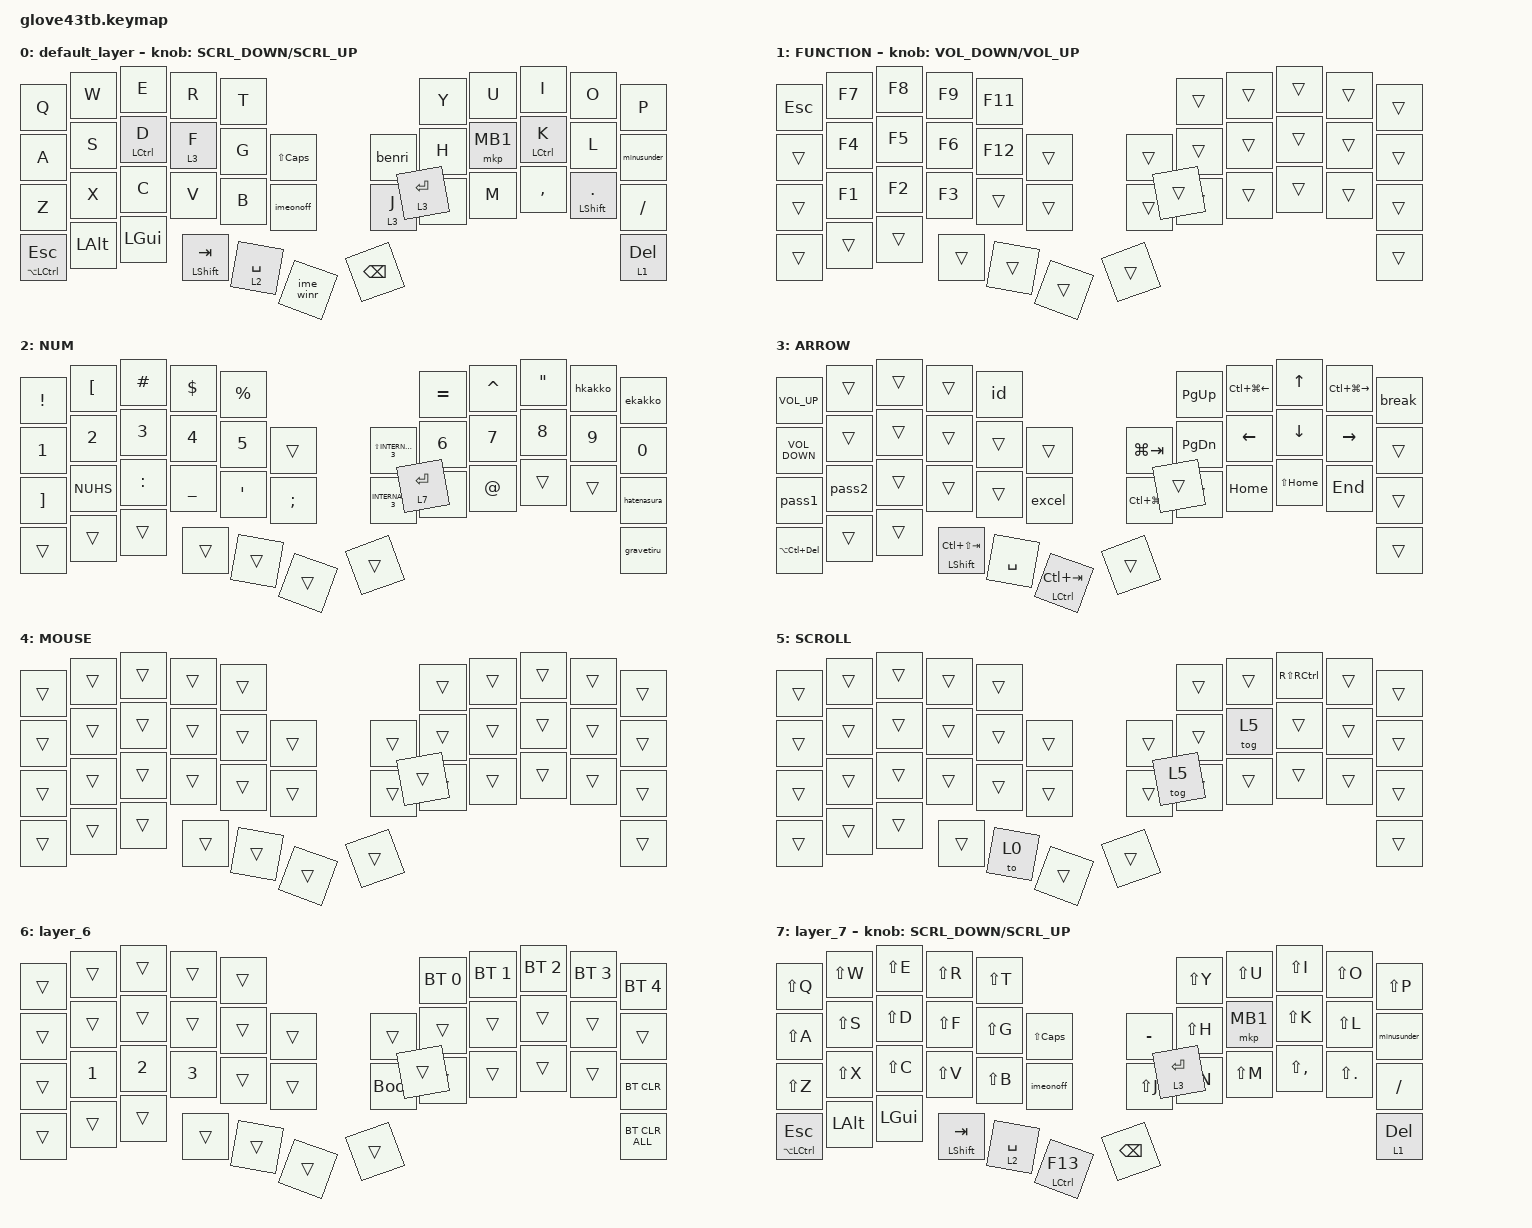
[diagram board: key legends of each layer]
#define ZMK_POINTING_DEFAULT_SCRL_VAL 150

#include <behaviors.dtsi>
#include <behaviors/rgbled_widget.dtsi>
#include <dt-bindings/zmk/bt.h>
#include <dt-bindings/zmk/keys.h>
#include <dt-bindings/zmk/pointing.h>
#include <dt-bindings/zmk/input_transform.h>
#include <input/processors.dtsi>
#include <zephyr/dt-bindings/input/input-event-codes.h>

&mt {
    flavor = "balanced";
    quick-tap-ms = <0>;
};

&mmv {
    delay-ms = <20>;
    trigger-period-ms = <5>;
    time-to-max-speed-ms = <100>;
    acceleration-exponent = <2>;
};

&msc {
    delay-ms = <3>;
    trigger-period-ms = <3>;
    time-to-max-speed-ms = <100>;
    acceleration-exponent = <0>;
};

/ {
    input_processors {
        zip_wheel_scaler: zip_wheel_scaler {
            compatible = "zmk,input-processor-scaler";
            #input-processor-cells = <2>;
            type = <INPUT_EV_REL>;
            codes = <INPUT_REL_WHEEL>;
            track-remainders;
        };
    };
};

/ {
    combos {
        compatible = "zmk,combos";

        rightclick {
            bindings = <&mkp MB2>;
            key-positions = <18 19>;
            layers = <0 4>;
        };

        f10 {
            bindings = <&kp F10>;
            key-positions = <12 13>;
            timeout-ms = <70>;
        };

        f7 {
            bindings = <&kp F7>;
            key-positions = <11 12 13>;
            timeout-ms = <80>;
        };

        winl {
            bindings = <&kp LG(LEFT_ARROW)>;
            key-positions = <18 41>;
        };

        winr {
            bindings = <&kp LG(RIGHT)>;
            key-positions = <41 20>;
        };

        winu {
            bindings = <&kp LG(UP_ARROW)>;
            key-positions = <41 7>;
        };

        wind {
            bindings = <&kp LG(DOWN_ARROW)>;
            key-positions = <41 19>;
        };

        scroll {
            bindings = <&tog 5>;
            key-positions = <18 7>;
            layers = <0 4>;
        };

        forward {
            bindings = <&kp LA(RIGHT)>;
            key-positions = <18 20>;
            layers = <0 4>;
            timeout-ms = <70>;
        };

        back {
            bindings = <&kp LA(LEFT)>;
            key-positions = <18 19 20>;
            layers = <0 4>;
            timeout-ms = <100>;
        };

        copy {
            bindings = <&kp LC(C)>;
            key-positions = <30 31>;
            timeout-ms = <70>;
            layers = <0>;
        };

        paste {
            bindings = <&kp LC(V)>;
            key-positions = <30 31 32>;
            timeout-ms = <100>;
            layers = <0>;
        };

        undo {
            bindings = <&kp LC(Z)>;
            key-positions = <30 32>;
            timeout-ms = <80>;
            layers = <0>;
        };
    };

    macros {
        to_layer_0: to_layer_0 {
            compatible = "zmk,behavior-macro-one-param";
            #binding-cells = <1>;
            bindings = <&to 0 &macro_param_1to1 &kp MACRO_PLACEHOLDER>;
            label = "TO_LAYER_0";
        };

        winr: winr {
            compatible = "zmk,behavior-macro";
            #binding-cells = <0>;
            bindings =
                <&kp LC(C)>,
                <&macro_wait_time 500>,
                <&kp LG(R)>,
                <&macro_wait_time 1000>,
                <&kp LC(V)>,
                <&macro_wait_time 600>,
                <&kp ENTER>;

            label = "WINR";
        };

        pass1: pass1 {
            compatible = "zmk,behavior-macro";
            #binding-cells = <0>;
            bindings =
                <&kt LEFT_SHIFT>,
                <&macro_wait_time 50>,
                <&kp X &kt LEFT_SHIFT &kp Z &kp G &kp Z &kp F &kp G &kp N8 &kt LEFT_SHIFT>,
                <&macro_wait_time 50>,
                <&kp NUMBER_1 &kt LEFT_SHIFT>;

            label = "PASS1";
        };

        pass2: pass2 {
            compatible = "zmk,behavior-macro";
            #binding-cells = <0>;
            bindings = <&kp X &kp Z &kp G &kp Z &kp F &kp G>;
            label = "PASS2";
        };

        id: id {
            compatible = "zmk,behavior-macro";
            #binding-cells = <0>;
            bindings = <&kp T &kp T &kp A &kp K &kp A &kp N &kp O>;
            label = "ID";
        };

        break: break {
            compatible = "zmk,behavior-macro";
            #binding-cells = <0>;
            bindings =
                <&kt LCTRL>,
                <&macro_wait_time 50>,
                <&kt LEFT_ALT>,
                <&macro_wait_time 50>,
                <&kp PAUSE_BREAK &kt LCTRL &kt LEFT_ALT>;

            label = "BREAK";
        };
    };

    behaviors {
        lt_to_layer_0: lt_to_layer_0 {
            compatible = "zmk,behavior-hold-tap";
            label = "LAYER_TAP_TO_0";
            bindings = <&mo>, <&to_layer_0>;

            #binding-cells = <2>;
            tapping-term-ms = <200>;
        };

        sensor_rotate_kp: sensor_rotate_kp {
            compatible = "zmk,behavior-sensor-rotate-var";
            #sensor-binding-cells = <2>;
            bindings = <&kp>, <&kp>;
        };

        mouse_wheel_scroll: mouse_wheel_scroll {
            compatible = "zmk,behavior-sensor-rotate-var";
            #sensor-binding-cells = <2>;
            bindings = <&msc>, <&msc>;

            tap-ms = <20>;
        };

        minusunder: minusunder {
            compatible = "zmk,behavior-tap-dance";
            label = "MINUSUNDER";
            #binding-cells = <0>;
            bindings = <&kp MINUS>, <&kp LS(INTERNATIONAL_1)>;

            tapping-term-ms = <230>;
        };

        hkakko: hkakko {
            compatible = "zmk,behavior-tap-dance";
            label = "HKAKKO";
            #binding-cells = <0>;
            bindings = <&kp ASTERISK>, <&kp RIGHT_BRACE>;

            tapping-term-ms = <250>;
        };

        ekakko: ekakko {
            compatible = "zmk,behavior-tap-dance";
            label = "EKAKKO";
            #binding-cells = <0>;
            bindings = <&kp LEFT_PARENTHESIS>, <&kp TILDE2>;

            tapping-term-ms = <250>;
        };

        benri: benri {
            compatible = "zmk,behavior-tap-dance";
            label = "BENRI";
            #binding-cells = <0>;
            bindings = <&kp LS(LC(N))>, <&winr>, <&kp LS(LG(S))>;

            tapping-term-ms = <350>;
        };

        hatenasura: hatenasura {
            compatible = "zmk,behavior-tap-dance";
            label = "HATENASURA";
            #binding-cells = <0>;
            bindings = <&kp QUESTION>, <&kp SLASH>;
        };

        excel: excel {
            compatible = "zmk,behavior-tap-dance";
            label = "EXCEL";
            #binding-cells = <0>;
            bindings = <&lt 6 LC(SEMICOLON)>, <&kp LC(SQT)>;
        };

        gravetiru: gravetiru {
            compatible = "zmk,behavior-tap-dance";
            label = "GRAVETIRU";
            #binding-cells = <0>;
            bindings = <&kp LEFT_BRACE>, <&kp PLUS>;

            tapping-term-ms = <250>;
        };

        imeonoff: imeonoff {
            compatible = "zmk,behavior-tap-dance";
            label = "IMEONOFF";
            #binding-cells = <0>;
            bindings = <&lt 6 LANG1>, <&kp LANG2>;
        };

        ime_winr: ime_winr {
            compatible = "zmk,behavior-tap-dance";
            label = "IME_WINR";
            #binding-cells = <0>;
            bindings = <&mt LCTRL F13>, <&kp LG(R)>;
        };
    };

    keymap {
        compatible = "zmk,keymap";

        default_layer {
            bindings = <
&kp Q                 &kp W         &kp E         &kp R               &kp T                                         &kp Y        &kp U     &kp I        &kp O                  &kp P
&kp A                 &kp S         &mt LCTRL D   &lt 3 F             &kp G        &kp LS(CAPS)      &benri         &kp H        &mkp MB1  &mt LCTRL K  &kp L                  &minusunder
&kp Z                 &kp X         &kp C         &kp V               &kp B        &imeonoff         &lt 3 J        &kp N        &kp M     &kp COMMA    &mt LEFT_SHIFT PERIOD  &kp SLASH
&mt LA(LCTRL) ESCAPE  &kp LEFT_ALT  &kp LEFT_GUI  &mt LEFT_SHIFT TAB  &lt 2 SPACE  &ime_winr         &kp BACKSPACE  &lt 3 ENTER                                                &lt 1 DELETE
            >;

            sensor-bindings = <&mouse_wheel_scroll SCRL_DOWN SCRL_UP>;
        };

        FUNCTION {
            bindings = <
&kp ESC  &kp F7  &kp F8  &kp F9  &kp F11                      &trans  &trans  &trans  &trans  &trans
&trans   &kp F4  &kp F5  &kp F6  &kp F12  &trans      &trans  &trans  &trans  &trans  &trans  &trans
&trans   &kp F1  &kp F2  &kp F3  &trans   &trans      &trans  &trans  &trans  &trans  &trans  &trans
&trans   &trans  &trans  &trans  &trans   &trans      &trans  &trans                          &trans
            >;

            sensor-bindings = <&sensor_rotate_kp C_VOLUME_DOWN C_VOLUME_UP>;
        };

        NUM {
            bindings = <
&kp EXCLAMATION    &kp LEFT_BRACKET  &kp HASH      &kp DOLLAR      &kp PERCENT                                              &kp EQUAL      &kp CARET     &kp DOUBLE_QUOTES  &hkakko       &ekakko
&kp NUMBER_1       &kp NUMBER_2      &kp NUMBER_3  &kp NUMBER_4    &kp N5       &trans             &kp LS(INTERNATIONAL_3)  &kp NUMBER_6   &kp NUMBER_7  &kp NUMBER_8       &kp NUMBER_9  &kp NUMBER_0
&kp RIGHT_BRACKET  &kp NUHS          &kp COLON     &kp UNDERSCORE  &kp SQT      &kp SEMICOLON      &kp INTERNATIONAL_3      &kp AMPERSAND  &kp AT_SIGN   &trans             &trans        &hatenasura
&trans             &trans            &trans        &trans          &trans       &trans             &trans                   &lt 7 ENTER                                                   &gravetiru
            >;
        };

        ARROW {
            bindings = <
&kp C_VOLUME_UP     &trans  &trans  &trans                      &id                                              &kp PG_UP      &kp LC(LG(LEFT_ARROW))  &kp UP_ARROW  &kp LC(LG(RIGHT))  &break
&kp C_VOLUME_DOWN   &trans  &trans  &trans                      &trans     &trans                 &kp LG(TAB)    &kp PAGE_DOWN  &kp LEFT                &kp DOWN      &kp RIGHT          &trans
&pass1              &pass2  &trans  &trans                      &trans     &excel                 &kp LC(LG(D))  &trans         &kp HOME                &kp LS(HOME)  &kp END            &trans
&kp LA(LC(DELETE))  &trans  &trans  &mt LEFT_SHIFT LC(LS(TAB))  &kp SPACE  &mt LCTRL LC(TAB)      &trans         &trans                                                                  &trans
            >;
        };

        MOUSE {
            bindings = <
&trans  &trans  &trans  &trans  &trans                      &trans  &trans  &trans  &trans  &trans
&trans  &trans  &trans  &trans  &trans  &trans      &trans  &trans  &trans  &trans  &trans  &trans
&trans  &trans  &trans  &trans  &trans  &trans      &trans  &trans  &trans  &trans  &trans  &trans
&trans  &trans  &trans  &trans  &trans  &trans      &trans  &trans                          &trans
            >;
        };

        SCROLL {
            bindings = <
&trans  &trans  &trans  &trans  &trans                      &trans  &trans  &kp RS(RCTRL)  &trans  &trans
&trans  &trans  &trans  &trans  &trans  &trans      &trans  &trans  &tog 5  &trans         &trans  &trans
&trans  &trans  &trans  &trans  &trans  &trans      &trans  &trans  &trans  &trans         &trans  &trans
&trans  &trans  &trans  &trans  &to 0   &trans      &trans  &tog 5                                 &trans
            >;
        };

        layer_6 {
            bindings = <
&trans  &trans        &trans        &trans        &trans                           &bt BT_SEL 0  &bt BT_SEL 1  &bt BT_SEL 2  &bt BT_SEL 3  &bt BT_SEL 4
&trans  &trans        &trans        &trans        &trans  &trans      &trans       &trans        &trans        &trans        &trans        &trans
&trans  &kp NUMBER_1  &kp NUMBER_2  &kp NUMBER_3  &trans  &trans      &bootloader  &trans        &trans        &trans        &trans        &bt BT_CLR
&trans  &trans        &trans        &trans        &trans  &trans      &trans       &trans                                                  &bt BT_CLR_ALL
            >;
        };

        layer_7 {
            bindings = <
&kp LS(Q)             &kp LS(W)     &kp LS(E)     &kp LS(R)           &kp LS(T)                                      &kp LS(Y)    &kp LS(U)  &kp LS(I)      &kp LS(O)    &kp LS(P)
&kp LS(A)             &kp LS(S)     &kp LS(D)     &kp LS(F)           &kp LS(G)    &kp LS(CAPS)       &kp MINUS      &kp LS(H)    &mkp MB1   &kp LS(K)      &kp LS(L)    &minusunder
&kp LS(Z)             &kp LS(X)     &kp LS(C)     &kp LS(V)           &kp LS(B)    &imeonoff          &kp LS(J)      &kp LS(N)    &kp LS(M)  &kp LS(COMMA)  &kp LS(DOT)  &kp SLASH
&mt LA(LCTRL) ESCAPE  &kp LEFT_ALT  &kp LEFT_GUI  &mt LEFT_SHIFT TAB  &lt 2 SPACE  &mt LCTRL F13      &kp BACKSPACE  &lt 3 ENTER                                         &lt 1 DELETE
            >;

            sensor-bindings = <&mouse_wheel_scroll SCRL_DOWN SCRL_UP>;
        };
    };
};
